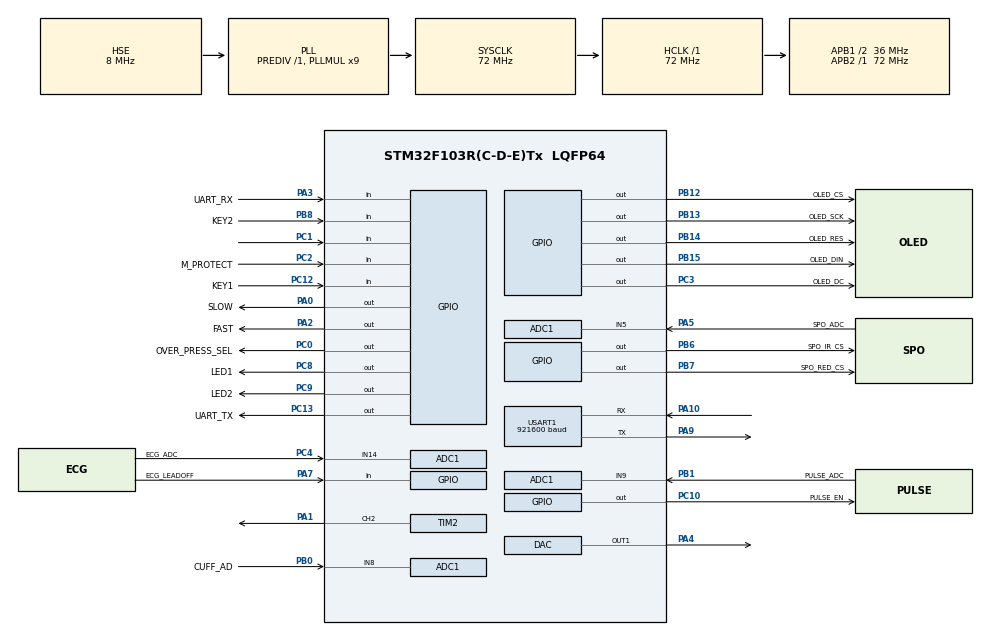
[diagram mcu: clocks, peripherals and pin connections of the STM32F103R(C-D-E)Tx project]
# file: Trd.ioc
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ADC1.Channel-1\#ChannelRegularConversion=ADC_CHANNEL_5
ADC1.Channel-2\#ChannelRegularConversion=ADC_CHANNEL_14
ADC1.Channel-3\#ChannelRegularConversion=ADC_CHANNEL_8
ADC1.Channel-4\#ChannelRegularConversion=ADC_CHANNEL_9
ADC1.ContinuousConvMode=ENABLE
ADC1.NbrOfConversion=4
ADC1.NbrOfConversionFlag=1
ADC1.Rank-1\#ChannelRegularConversion=1
ADC1.Rank-2\#ChannelRegularConversion=2
ADC1.Rank-3\#ChannelRegularConversion=3
ADC1.Rank-4\#ChannelRegularConversion=4
ADC1.SamplingTime-1\#ChannelRegularConversion=ADC_SAMPLETIME_71CYCLES_5
ADC1.SamplingTime-2\#ChannelRegularConversion=ADC_SAMPLETIME_71CYCLES_5
ADC1.SamplingTime-3\#ChannelRegularConversion=ADC_SAMPLETIME_71CYCLES_5
ADC1.SamplingTime-4\#ChannelRegularConversion=ADC_SAMPLETIME_71CYCLES_5
ADC1.master=1
DAC.DAC_OutputBuffer=DAC_OUTPUTBUFFER_DISABLE
Dma.ADC1.0.Direction=DMA_PERIPH_TO_MEMORY
Dma.ADC1.0.Instance=DMA1_Channel1
Dma.ADC1.0.MemDataAlignment=DMA_MDATAALIGN_HALFWORD
Dma.ADC1.0.MemInc=DMA_MINC_ENABLE
Dma.ADC1.0.Mode=DMA_CIRCULAR
Dma.ADC1.0.PeriphDataAlignment=DMA_PDATAALIGN_HALFWORD
Dma.ADC1.0.PeriphInc=DMA_PINC_DISABLE
Dma.ADC1.0.Priority=DMA_PRIORITY_LOW
Dma.Request0=ADC1
FREERTOS.BinarySemaphores01=xSemaphore500us,Dynamic,NULL,Available
FREERTOS.Queues01=xQueueECG,16,uint16_t,0,Dynamic,NULL,NULL;xQueueSPO2,16,SPO2_Data_t,0,Dynamic,NULL,NULL;xQueueNIBP,16,NIBP_Data_t,0,Dynamic,NULL,NULL
FREERTOS.Tasks01=defaultTask,24,128,StartDefaultTask,Default,NULL,Dynamic,NULL,NULL;ECG,8,512,vTaskECG,Default,NULL,Static,ECGBuffer,ECGControlBlock;SPO2,8,512,vTaskSPO2,Default,NULL,Static,SPO2Buffer,SPO2ControlBlock;NIBP,8,512,vTaskNIBP,Default,NULL,Static,NIBPBuffer,NIBPControlBlock;COLLECT,8,128,vTaskCollect,Default,NULL,Dynamic,NULL,NULL;LED,8,128,vTaskLED,Default,NULL,Dynamic,NULL,NULL;KEY,8,128,vKeyScanTask,Default,NULL,Dynamic,NULL,NULL
Mcu.Family=STM32F1
Mcu.Name=STM32F103R(C-D-E)Tx
Mcu.Package=LQFP64
NVIC.DMA1_Channel1_IRQn=true\:5\:0\:false\:false\:true\:true\:false\:true\:true
NVIC.PriorityGroup=NVIC_PRIORITYGROUP_4
NVIC.TIM3_IRQn=true\:5\:0\:false\:false\:true\:true\:true\:true\:true
NVIC.TIM4_IRQn=true\:15\:0\:false\:false\:true\:false\:false\:true\:true
NVIC.TimeBase=TIM4_IRQn
NVIC.TimeBaseIP=TIM4
PA0-WKUP.GPIO_Label=SLOW
PA0-WKUP.Signal=GPIO_Output
PA1.Signal=S_TIM2_CH2
PA10.Mode=Asynchronous
PA10.Signal=USART1_RX
PA13.Mode=JTAG_5_pins
PA13.Signal=SYS_JTMS-SWDIO
PA14.Mode=JTAG_5_pins
PA14.Signal=SYS_JTCK-SWCLK
PA15.Mode=JTAG_5_pins
PA15.Signal=SYS_JTDI
PA2.GPIO_Label=FAST
PA2.Signal=GPIO_Output
PA3.GPIO_Label=UART_RX
PA3.Signal=GPIO_Input
PA4.Signal=COMP_DAC1_group
PA5.GPIO_Label=SPO_ADC
PA5.Signal=ADCx_IN5
PA7.GPIO_Label=ECG_LEADOFF
PA7.Signal=GPIO_Input
PA9.Mode=Asynchronous
PA9.Signal=USART1_TX
PB0.GPIO_Label=CUFF_AD
PB0.Signal=ADCx_IN8
PB1.GPIO_Label=PULSE_ADC
PB1.Signal=ADCx_IN9
PB12.GPIO_Label=OLED_CS
PB12.Signal=GPIO_Output
PB13.GPIO_Label=OLED_SCK
PB13.Signal=GPIO_Output
PB14.GPIO_Label=OLED_RES
PB14.Signal=GPIO_Output
PB15.GPIO_Label=OLED_DIN
PB15.Signal=GPIO_Output
PB3.Mode=JTAG_5_pins
PB3.Signal=SYS_JTDO-TRACESWO
PB4.Mode=JTAG_5_pins
PB4.Signal=SYS_NJTRST
PB6.GPIO_Label=SPO_IR_CS
PB6.Signal=GPIO_Output
PB7.GPIO_Label=SPO_RED_CS
PB7.Signal=GPIO_Output
PB8.GPIO_Label=KEY2
PB8.Signal=GPIO_Input
PC0.GPIO_Label=OVER_PRESS_SEL
PC0.Signal=GPIO_Output
PC1.Signal=GPIO_Input
PC10.GPIO_Label=PULSE_EN
PC10.Signal=GPIO_Output
PC12.GPIO_Label=KEY1
PC12.Signal=GPIO_Input
PC13-TAMPER-RTC.GPIO_Label=UART_TX
PC13-TAMPER-RTC.Signal=GPIO_Output
PC14-OSC32_IN.Mode=LSE-External-Oscillator
PC14-OSC32_IN.Signal=RCC_OSC32_IN
PC15-OSC32_OUT.Mode=LSE-External-Oscillator
PC15-OSC32_OUT.Signal=RCC_OSC32_OUT
PC2.GPIO_Label=M_PROTECT
PC2.Signal=GPIO_Input
PC3.GPIO_Label=OLED_DC
PC3.Signal=GPIO_Output
PC4.GPIO_Label=ECG_ADC
PC4.Signal=ADCx_IN14
PC8.GPIO_Label=LED1
PC8.Signal=GPIO_Output
PC9.GPIO_Label=LED2
PC9.Signal=GPIO_Output
PD0-OSC_IN.Mode=HSE-External-Oscillator
PD0-OSC_IN.Signal=RCC_OSC_IN
PD1-OSC_OUT.Mode=HSE-External-Oscillator
PD1-OSC_OUT.Signal=RCC_OSC_OUT
ProjectManager.HeapSize=0x200
ProjectManager.StackSize=0x400
ProjectManager.TargetToolchain=CMake
RCC.ADCPresc=RCC_ADCPCLK2_DIV6
RCC.AHBFreq_Value=72000000
RCC.APB1CLKDivider=RCC_HCLK_DIV2
RCC.APB1Freq_Value=36000000
RCC.APB1TimFreq_Value=72000000
RCC.APB2Freq_Value=72000000
RCC.APB2TimFreq_Value=72000000
RCC.HCLKFreq_Value=72000000
RCC.PLLMUL=RCC_PLL_MUL9
RCC.PLLSourceVirtual=RCC_PLLSOURCE_HSE
RCC.SYSCLKFreq_VALUE=72000000
RCC.SYSCLKSource=RCC_SYSCLKSOURCE_PLLCLK
RCC.USBFreq_Value=72000000
SH.ADCx_IN14.0=ADC1_IN14,IN14
SH.ADCx_IN5.0=ADC1_IN5,IN5
SH.ADCx_IN8.0=ADC1_IN8,IN8
SH.ADCx_IN9.0=ADC1_IN9,IN9
SH.COMP_DAC1_group.0=DAC_OUT1,DAC_OUT1
SH.S_TIM2_CH2.0=TIM2_CH2,PWM Generation2 CH2
TIM2.Channel-PWM\ Generation2\ CH2=TIM_CHANNEL_2
TIM2.Period=100-1
TIM2.Prescaler=72-1
TIM3.Period=500-1
TIM3.Prescaler=72-1
USART1.BaudRate=921600
USART1.VirtualMode=VM_ASYNC
VP_FREERTOS_VS_CMSIS_V2.Mode=CMSIS_V2
VP_SYS_VS_tim4.Mode=TIM4
VP_TIM2_VS_ClockSourceINT.Mode=Internal
VP_TIM3_VS_ClockSourceINT.Mode=Internal
board=custom

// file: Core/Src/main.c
/* USER CODE BEGIN Header */
/**
  ******************************************************************************
  * @file           : main.c
  * @brief          : Main program body
  ******************************************************************************
  * @attention
  *
  * Copyright (c) 2026 STMicroelectronics.
  * All rights reserved.
  *
  * This software is licensed under terms that can be found in the LICENSE file
  * in the root directory of this software component.
  * If no LICENSE file comes with this software, it is provided AS-IS.
  *
  ******************************************************************************
  */
/* USER CODE END Header */
#include "main.h"
#include "cmsis_os.h"
#include "adc.h"
#include "dac.h"
#include "dma.h"
#include "tim.h"
#include "usart.h"
#include "gpio.h"

/* USER CODE BEGIN Includes */
#include <stdio.h>
#include <string.h>
/* USER CODE END Includes */

/* USER CODE BEGIN PM */
SPO2Filter spo2_filter;
/* USER CODE END PM */

/* USER CODE BEGIN PV */

//char message[50] = "";
/* USER CODE END PV */

void SystemClock_Config(void);
void MX_FREERTOS_Init(void);

/* USER CODE BEGIN 0 */
//
// void Set_DAC_Voltage(float voltage) {
//   uint16_t dac_value;
//   // 计算DAC值 (12位分辨率)
//   dac_value = (uint16_t)((voltage / 3.3) * 4095);
//
//   // 设置DAC数据 (12位右对齐)
//   HAL_DAC_SetValue(&hdac,DAC_CHANNEL_1,DAC_ALIGN_12B_R,dac_value);
// }
/* USER CODE END 0 */

int main(void)
{

  /* MCU Configuration--------------------------------------------------------*/

  /* Reset of all peripherals, Initializes the Flash interface and the Systick. */
  HAL_Init();

  /* Configure the system clock */
  SystemClock_Config();

  /* Initialize all configured peripherals */
  MX_GPIO_Init();
  MX_DMA_Init();
  MX_ADC1_Init();
  MX_USART1_UART_Init();
  MX_DAC_Init();
  MX_TIM2_Init();
  MX_TIM3_Init();
  /* USER CODE BEGIN 2 */
  //HAL_TIM_Base_Start_IT(&htim3);//500um
  //HAL_ADCEx_Calibration_Start(&hadc1);
  // HAL_ADC_Start_DMA(&hadc1,(uint32_t*)adc_buff,sizeof(adc_buff)/sizeof(uint16_t));
  //HAL_DAC_Start(&hdac,DAC_CHANNEL_1);
  //HAL_TIM_PWM_Start(&htim2,TIM_CHANNEL_2);
  InitFilters(&spo2_filter);  // 初始化滤波器
  HAL_GPIO_WritePin(FAST_GPIO_Port,FAST_Pin,GPIO_PIN_SET);
  HAL_GPIO_WritePin(SLOW_GPIO_Port,SLOW_Pin,GPIO_PIN_SET);
  Set_DAC_Voltage(0.80);
  //printf("initialised\r\n");
  /* USER CODE END 2 */

  /* Init scheduler */
  osKernelInitialize();  /* Call init function for freertos objects (in cmsis_os2.c) */
  MX_FREERTOS_Init();

  /* Start scheduler */
  osKernelStart();

  /* We should never get here as control is now taken by the scheduler */

  /* Infinite loop */
  /* USER CODE BEGIN WHILE */
  while (1)
  {
    // for (int i=0;i<100;i++)
    // {
    //   __HAL_TIM_SET_COMPARE(&htim2,TIM_CHANNEL_2,i);
    //   HAL_Delay(400);
    // }
    // for (int i=100;i>=0;i--)
    // {
    //   __HAL_TIM_SET_COMPARE(&htim2,TIM_CHANNEL_2,i);
    //   HAL_Delay(400);
    // }

    /* USER CODE END WHILE */

  }
}

void SystemClock_Config(void)
{
  RCC_OscInitTypeDef RCC_OscInitStruct = {0};
  RCC_ClkInitTypeDef RCC_ClkInitStruct = {0};
  RCC_PeriphCLKInitTypeDef PeriphClkInit = {0};

  /** Initializes the RCC Oscillators according to the specified parameters
  * in the RCC_OscInitTypeDef structure.
  */
  RCC_OscInitStruct.OscillatorType = RCC_OSCILLATORTYPE_HSE;
  RCC_OscInitStruct.HSEState = RCC_HSE_ON;
  RCC_OscInitStruct.HSEPredivValue = RCC_HSE_PREDIV_DIV1;
  RCC_OscInitStruct.HSIState = RCC_HSI_ON;
  RCC_OscInitStruct.PLL.PLLState = RCC_PLL_ON;
  RCC_OscInitStruct.PLL.PLLSource = RCC_PLLSOURCE_HSE;
  RCC_OscInitStruct.PLL.PLLMUL = RCC_PLL_MUL9;
  if (HAL_RCC_OscConfig(&RCC_OscInitStruct) != HAL_OK)
  {
    Error_Handler();
  }

  /** Initializes the CPU, AHB and APB buses clocks
  */
  RCC_ClkInitStruct.ClockType = RCC_CLOCKTYPE_HCLK|RCC_CLOCKTYPE_SYSCLK
                              |RCC_CLOCKTYPE_PCLK1|RCC_CLOCKTYPE_PCLK2;
  RCC_ClkInitStruct.SYSCLKSource = RCC_SYSCLKSOURCE_PLLCLK;
  RCC_ClkInitStruct.AHBCLKDivider = RCC_SYSCLK_DIV1;
  RCC_ClkInitStruct.APB1CLKDivider = RCC_HCLK_DIV2;
  RCC_ClkInitStruct.APB2CLKDivider = RCC_HCLK_DIV1;

  if (HAL_RCC_ClockConfig(&RCC_ClkInitStruct, FLASH_LATENCY_2) != HAL_OK)
  {
    Error_Handler();
  }
  PeriphClkInit.PeriphClockSelection = RCC_PERIPHCLK_ADC;
  PeriphClkInit.AdcClockSelection = RCC_ADCPCLK2_DIV6;
  if (HAL_RCCEx_PeriphCLKConfig(&PeriphClkInit) != HAL_OK)
  {
    Error_Handler();
  }
}

void HAL_TIM_PeriodElapsedCallback(TIM_HandleTypeDef *htim)
{
  if (htim->Instance == TIM4)
  {
    HAL_IncTick();
  }
  /* USER CODE BEGIN Callback 1 */
  if (htim->Instance == TIM3)
  {
    osSemaphoreRelease(xSemaphore500usHandle);   // 在中断中释放信号量
  }
  /* USER CODE END Callback 1 */
}

void Error_Handler(void)
{
  __disable_irq();
  while (1)
  {
  }
}

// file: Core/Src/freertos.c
/* USER CODE BEGIN Header */
/**
  ******************************************************************************
  * File Name          : freertos.c
  * Description        : Code for freertos applications
  ******************************************************************************
  * @attention
  *
  * Copyright (c) 2026 STMicroelectronics.
  * All rights reserved.
  *
  * This software is licensed under terms that can be found in the LICENSE file
  * in the root directory of this software component.
  * If no LICENSE file comes with this software, it is provided AS-IS.
  *
  ******************************************************************************
  */
/* USER CODE END Header */

#include "FreeRTOS.h"
#include "task.h"
#include "main.h"
#include "cmsis_os.h"
#include "adc.h"
#include <stdio.h>
#include <string.h>

#include "dac.h"
#include "usart.h"

typedef StaticTask_t osStaticThreadDef_t;
/* USER CODE BEGIN PTD */
#define SPO2_BUF_SIZE 1024
#define RR_TABLE_SIZE 11
static const uint16_t RR_TABLE[RR_TABLE_SIZE] = {560, 600, 630, 650, 680, 710, 740, 760, 790, 820, 860};
/* USER CODE END PTD */

/* USER CODE BEGIN PD */
// 血氧计算相关结构体
typedef struct {
  uint16_t redBuffer[SPO2_BUF_SIZE];  // 红光数据缓冲区
  uint16_t irBuffer[SPO2_BUF_SIZE];   // 红外光数据缓冲区
  uint16_t index;                     // 缓冲区索引
  uint8_t calcFlag;                   // 计算标志位
  uint16_t arrRRBuff[6];              // R值缓冲区
  uint8_t spo2Value;                  // 计算得到的血氧值
} SPO2Calculator;
/* USER CODE END PD */

/* USER CODE BEGIN PM */
void StoreSPO2Data(SPO2Calculator* calculator, uint16_t redValue, uint16_t irValue);
uint8_t CalcSpO2(SPO2Calculator* calculator);
void AdjustLight(uint16_t redValue, uint16_t irValue);
void InitSPO2Calculator(SPO2Calculator* calculator);
uint16_t ECG_ADC =0;
uint16_t SPO_RED_ADC =0;
uint16_t SPO_IR_ADC =0;
uint16_t CUFF_ADC =0;
uint16_t PULSE_ADC =0;
extern SPO2Filter spo2_filter;
SPO2Calculator spo2_calculator;   // 血氧计算器（也可作为任务局部静态，但为了方便可以在任务外初始化）
// 添加DAC电压全局变量
float g_redDACVoltage = 0.21f;   // 红光DAC初始电压
float g_irDACVoltage = 0.13f;    // 红外光DAC初始电压
/* 探头脱落和调光完成标志（参考裸机） */
uint8_t g_probeDetached = 1;       // 初始为脱落
uint8_t g_lightAdjustComplete = 0; // 调光未完成
char message[50]= "";
char stamsg2[50]="";
char stamsg3[50]="";
char stamsg4[50]="";
/* USER CODE END PM */

/* Definitions for defaultTask */
osThreadId_t defaultTaskHandle;
const osThreadAttr_t defaultTask_attributes = {
  .name = "defaultTask",
  .stack_size = 128 * 4,
  .priority = (osPriority_t) osPriorityNormal,
};
/* Definitions for ECG */
osThreadId_t ECGHandle;
uint32_t ECGBuffer[ 512 ];
osStaticThreadDef_t ECGControlBlock;
const osThreadAttr_t ECG_attributes = {
  .name = "ECG",
  .cb_mem = &ECGControlBlock,
  .cb_size = sizeof(ECGControlBlock),
  .stack_mem = &ECGBuffer[0],
  .stack_size = sizeof(ECGBuffer),
  .priority = (osPriority_t) osPriorityLow,
};
/* Definitions for SPO2 */
osThreadId_t SPO2Handle;
uint32_t SPO2Buffer[ 512 ];
osStaticThreadDef_t SPO2ControlBlock;
const osThreadAttr_t SPO2_attributes = {
  .name = "SPO2",
  .cb_mem = &SPO2ControlBlock,
  .cb_size = sizeof(SPO2ControlBlock),
  .stack_mem = &SPO2Buffer[0],
  .stack_size = sizeof(SPO2Buffer),
  .priority = (osPriority_t) osPriorityLow,
};
/* Definitions for NIBP */
osThreadId_t NIBPHandle;
uint32_t NIBPBuffer[ 512 ];
osStaticThreadDef_t NIBPControlBlock;
const osThreadAttr_t NIBP_attributes = {
  .name = "NIBP",
  .cb_mem = &NIBPControlBlock,
  .cb_size = sizeof(NIBPControlBlock),
  .stack_mem = &NIBPBuffer[0],
  .stack_size = sizeof(NIBPBuffer),
  .priority = (osPriority_t) osPriorityLow,
};
/* Definitions for COLLECT */
osThreadId_t COLLECTHandle;
const osThreadAttr_t COLLECT_attributes = {
  .name = "COLLECT",
  .stack_size = 128 * 4,
  .priority = (osPriority_t) osPriorityLow,
};
/* Definitions for LED */
osThreadId_t LEDHandle;
const osThreadAttr_t LED_attributes = {
  .name = "LED",
  .stack_size = 128 * 4,
  .priority = (osPriority_t) osPriorityLow,
};
/* Definitions for KEY */
osThreadId_t KEYHandle;
const osThreadAttr_t KEY_attributes = {
  .name = "KEY",
  .stack_size = 128 * 4,
  .priority = (osPriority_t) osPriorityLow,
};
/* Definitions for xQueueECG */
osMessageQueueId_t xQueueECGHandle;
const osMessageQueueAttr_t xQueueECG_attributes = {
  .name = "xQueueECG"
};
/* Definitions for xQueueSPO2 */
osMessageQueueId_t xQueueSPO2Handle;
const osMessageQueueAttr_t xQueueSPO2_attributes = {
  .name = "xQueueSPO2"
};
/* Definitions for xQueueNIBP */
osMessageQueueId_t xQueueNIBPHandle;
const osMessageQueueAttr_t xQueueNIBP_attributes = {
  .name = "xQueueNIBP"
};
/* Definitions for xSemaphore500us */
osSemaphoreId_t xSemaphore500usHandle;
const osSemaphoreAttr_t xSemaphore500us_attributes = {
  .name = "xSemaphore500us"
};

void StartDefaultTask(void *argument);
void vTaskECG(void *argument);
void vTaskSPO2(void *argument);
void vTaskNIBP(void *argument);
void vTaskCollect(void *argument);
void vTaskLED(void *argument);
void vKeyScanTask(void *argument);

void MX_FREERTOS_Init(void); /* (MISRA C 2004 rule 8.1) */

void MX_FREERTOS_Init(void) {

  /* Create the semaphores(s) */
  /* creation of xSemaphore500us */
  xSemaphore500usHandle = osSemaphoreNew(1, 1, &xSemaphore500us_attributes);

  /* Create the queue(s) */
  /* creation of xQueueECG */
  xQueueECGHandle = osMessageQueueNew (16, sizeof(uint16_t), &xQueueECG_attributes);

  /* creation of xQueueSPO2 */
  xQueueSPO2Handle = osMessageQueueNew (16, sizeof(SPO2_Data_t), &xQueueSPO2_attributes);

  /* creation of xQueueNIBP */
  xQueueNIBPHandle = osMessageQueueNew (16, sizeof(NIBP_Data_t), &xQueueNIBP_attributes);

  /* Create the thread(s) */
  /* creation of defaultTask */
  defaultTaskHandle = osThreadNew(StartDefaultTask, NULL, &defaultTask_attributes);

  /* creation of ECG */
  ECGHandle = osThreadNew(vTaskECG, NULL, &ECG_attributes);

  /* creation of SPO2 */
  SPO2Handle = osThreadNew(vTaskSPO2, NULL, &SPO2_attributes);

  /* creation of NIBP */
  NIBPHandle = osThreadNew(vTaskNIBP, NULL, &NIBP_attributes);

  /* creation of COLLECT */
  COLLECTHandle = osThreadNew(vTaskCollect, NULL, &COLLECT_attributes);

  /* creation of LED */
  LEDHandle = osThreadNew(vTaskLED, NULL, &LED_attributes);

  /* creation of KEY */
  KEYHandle = osThreadNew(vKeyScanTask, NULL, &KEY_attributes);

  /* USER CODE BEGIN RTOS_EVENTS */
  /* add events, ... */
  InitSPO2Calculator(&spo2_calculator);  // 初始化血氧计算器
  /* USER CODE END RTOS_EVENTS */

}

void StartDefaultTask(void *argument)
{
  for(;;)
  {
    osDelay(1);
  }
}

void vTaskECG(void *argument)
{
  /* USER CODE BEGIN vTaskECG */
  static uint16_t ecgad;
  /* Infinite loop */
  for(;;)
  {
    osMessageQueueGet(xQueueECGHandle,&ecgad,0,osWaitForever);
    ECG_ADC = ecgad;
    // sprintf(message,"%d\r\n",ECG_ADC);
    // HAL_UART_Transmit(&huart1,(uint8_t*) message, strlen(message), 1000);
  }
  /* USER CODE END vTaskECG */
}

void vTaskSPO2(void *argument)
{
  /* USER CODE BEGIN vTaskSPO2 */
  static SPO2_Data_t spoad;
  uint8_t spo2_value;
  /* Infinite loop */
  for(;;)
  {
    osMessageQueueGet(xQueueSPO2Handle,&spoad,0,osWaitForever);
    StoreSPO2Data(&spo2_calculator, spoad.red, spoad.ir);
    // SPO_RED_ADC = spoad.red;
    // SPO_IR_ADC  = spoad.ir;
    // sprintf(message,"%d,%d\r\n",SPO_RED_ADC,SPO_IR_ADC);
    // HAL_UART_Transmit(&huart1,(uint8_t*) message, strlen(message), 1000);
    /* 检查是否已累积到足够的数据（缓冲区满） */
    if (spo2_calculator.calcFlag == 1)
    {
      /* 计算血氧值（CalcSpO2 内部会检查探头脱落和调光完成标志） */
      spo2_value = CalcSpO2(&spo2_calculator);

      /* 通过串口打印结果（可改为发送到显示队列） */
      sprintf(stamsg4,"[[4,SPO:%d]]\r\n",spo2_value);
      HAL_UART_Transmit(&huart1,(uint8_t*) stamsg4, strlen(stamsg4), 1000);

      /* 注意：CalcSpO2 内部会重置 calcFlag 和 index，无需额外操作 */
    }
  }
  /* USER CODE END vTaskSPO2 */
}

void vTaskNIBP(void *argument)
{
  /* USER CODE BEGIN vTaskNIBP */
  /* Infinite loop */
  static NIBP_Data_t adc;
  for(;;)
  {
    osMessageQueueGet(xQueueNIBPHandle,&adc,0,osWaitForever);
    CUFF_ADC = adc.cuff;
    PULSE_ADC = adc.pulse;
    //osDelay(1);
  }
  /* USER CODE END vTaskNIBP */
}

void vTaskCollect(void *argument)
{
  /* USER CODE BEGIN vTaskCollect */
  /* 静态变量用于时序控制 */
  static uint8_t state = 0;          // LED 状态: 0关,1红,2关,3红外,4关
  static uint8_t state_counter = 0;  // 500us 计数器
  static uint8_t s_iCnt3 = 0;        // 采样延时计数器
  static uint8_t s_redSampled = 0, s_irSampled = 0;
  static uint16_t s_redValue = 0, s_irValue = 0;
  static uint16_t red_filtered = 0, ir_filtered = 0;
  /* 2ms 计数器 */
  static uint8_t two_ms_divider = 0;
  /* 临时变量 */
  SPO2_Data_t spo2_data;
  NIBP_Data_t nibp_data;
  uint16_t adc_value;
  /* Infinite loop */
  for(;;)
  {
    osSemaphoreAcquire(xSemaphore500usHandle, osWaitForever);
    /* ---------- 1. 血氧 LED 状态机 ---------- */
    state_counter++;
    if (state_counter >= 4) {//2ms变一次
      state_counter = 0;
      state = (state + 1) % 5;  // 0->1->2->3->4->0
    }
    switch (state) {
    case 0: case 2: case 4://全灭
      HAL_GPIO_WritePin(SPO_RED_CS_GPIO_Port, SPO_RED_CS_Pin, GPIO_PIN_SET);
      HAL_GPIO_WritePin(SPO_IR_CS_GPIO_Port,  SPO_IR_CS_Pin,  GPIO_PIN_SET);
      break;
    case 1://红光亮
      HAL_GPIO_WritePin(SPO_RED_CS_GPIO_Port, SPO_RED_CS_Pin, GPIO_PIN_RESET);
      HAL_GPIO_WritePin(SPO_IR_CS_GPIO_Port,  SPO_IR_CS_Pin,  GPIO_PIN_SET);
      Set_DAC_Voltage(g_redDACVoltage);
      break;
    case 3://红外灯亮
      HAL_GPIO_WritePin(SPO_RED_CS_GPIO_Port, SPO_RED_CS_Pin, GPIO_PIN_SET);
      HAL_GPIO_WritePin(SPO_IR_CS_GPIO_Port,  SPO_IR_CS_Pin,  GPIO_PIN_RESET);
      Set_DAC_Voltage(g_irDACVoltage);
      break;
    }
    /* ---------- 2. 血氧采样时刻判断 ---------- */
    if ((state == 1 || state == 3) && s_iCnt3 < 3) {
      s_iCnt3++;
      if (s_iCnt3 == 3) {
        /* 从 DMA 缓冲区读取血氧通道值（假设索引 0） */
        adc_value = ReadADCChannel(SPO_CHANNEL);
        if (state == 1) {
          s_redValue = adc_value;
          s_redSampled = 1;
        } else {
          s_irValue = adc_value;
          s_irSampled = 1;
        }
      }
    } else if (state == 0 || state == 2 || state == 4) {
      s_iCnt3 = 0;
    }
    /* 如果红光和红外都采样完成，打包发送给 SPO2 任务 */
    /* 如果红光和红外都采样完成，先进行探头检测和调光，再决定是否发送滤波后的数据 */
    if (s_redSampled && s_irSampled) {
      // 检测探头脱落（以原始ADC值为准）
      // sprintf(message,"%d,%d\r\n",s_redValue,s_irValue);
      // HAL_UART_Transmit(&huart1,(uint8_t*) message, strlen(message), 1000);
      if (s_redValue < 20 || s_irValue < 20) {
        g_probeDetached = 1;
        g_lightAdjustComplete = 0;
        // 重置血氧计算器（清空缓冲区）
        spo2_calculator.index = 0;
        spo2_calculator.calcFlag = 0;
        //printf("[[2,探头脱落]]\r\n"); //脱落
        sprintf(stamsg2,"[[2,探头脱落]]\r\n");
        HAL_UART_Transmit(&huart1,(uint8_t*) stamsg2, strlen(stamsg2), 1000);
      } else
      {
        // 探头已连接
        if (g_probeDetached) {
          g_probeDetached = 0;
          //printf("[[2,连接]]\r\n"); //脱落
          sprintf(stamsg2,"[[2,探头连接]]\r\n");
          HAL_UART_Transmit(&huart1,(uint8_t*) stamsg2, strlen(stamsg2), 1000);
        }
        // 调光逻辑
        AdjustLight(s_redValue, s_irValue);

        // 检查调光是否完成
        if (s_redValue >= 825 && s_redValue <= 975 &&
            s_irValue >= 825 && s_irValue <= 975) {
          if (!g_lightAdjustComplete) {
            g_lightAdjustComplete = 1;
            //printf("[[3,调光完成]]\r\n"); //脱落
            sprintf(stamsg3,"[[3,调光完成]]\r\n");
            HAL_UART_Transmit(&huart1,(uint8_t*) stamsg3, strlen(stamsg3), 1000);
          }

          // 发送滤波后的数据给血氧任务
          red_filtered = FilterSPO2Red(&spo2_filter, s_redValue);
          ir_filtered = FilterSPO2IR(&spo2_filter, s_irValue);
          spo2_data.red = red_filtered;
          spo2_data.ir  = ir_filtered;
          // sprintf(message,"%d,%d\r\n",red_filtered,ir_filtered);
          // HAL_UART_Transmit(&huart1,(uint8_t*) message, strlen(message), 1000);
          osMessageQueuePut(xQueueSPO2Handle, &spo2_data, 0, 0);
            }else {
            g_lightAdjustComplete = 0;
              //printf("[[3,调光未完成]]\r\n"); //脱落
            sprintf(stamsg3,"[[3,调光未完成]]\r\n");
            HAL_UART_Transmit(&huart1,(uint8_t*) stamsg3, strlen(stamsg3), 1000);
          }
      }
      s_redSampled = 0;
      s_irSampled = 0;
    }
    /* ---------- 3. 每 2ms 采集 ECG 和 NIBP ---------- */
    two_ms_divider++;
    if (two_ms_divider >= 4) {
      two_ms_divider = 0;

      /* 读取 ECG 通道 */
      adc_value = ReadADCChannel(ECG_CHANNEL);
      osMessageQueuePut(xQueueECGHandle, &adc_value, 0, 0);

      /* 读取 NIBP 通道 */
      nibp_data.cuff  = ReadADCChannel(CUFF_CHANNEL);
      nibp_data.pulse = ReadADCChannel(PULSE_CHANNEL);
      sprintf(message,"%d,%d\r\n",nibp_data.cuff,nibp_data.pulse);
      HAL_UART_Transmit(&huart1,(uint8_t*) message, strlen(message), 1000);
      osMessageQueuePut(xQueueNIBPHandle, &nibp_data, 0, 0);
    }
  }

  /* USER CODE END vTaskCollect */
}

void vTaskLED(void *argument)
{
  /* USER CODE BEGIN vTaskLED */
  /* Infinite loop */
  for(;;)
  {
    HAL_GPIO_WritePin(GPIOC, LED1_Pin,1);
    HAL_GPIO_WritePin(GPIOC, LED2_Pin, 0);
    osDelay(250);
    HAL_GPIO_WritePin(GPIOC, LED1_Pin,0);
    HAL_GPIO_WritePin(GPIOC, LED2_Pin, 1);
    osDelay(250);
    // sprintf(message,"%d\r\n",ECG_ADC);
    // HAL_UART_Transmit(&huart1,(uint8_t*) message, strlen(message), 1000);
  }
  /* USER CODE END vTaskLED */
}

void vKeyScanTask(void *argument)
{
  for(;;)
  {
    osDelay(1);
  }
}

/* USER CODE BEGIN Application */
// 存储血氧数据
void StoreSPO2Data(SPO2Calculator* calculator, uint16_t redValue, uint16_t irValue)
{
  if(calculator->index < SPO2_BUF_SIZE)
  {
    calculator->redBuffer[calculator->index] = redValue;
    calculator->irBuffer[calculator->index] = irValue;
    calculator->index++;
  }
  // 缓冲区满时设置计算标志
  if(calculator->index >= SPO2_BUF_SIZE)
  {
    calculator->calcFlag = 1;
  }
}

// 血氧计算函数
uint8_t CalcSpO2(SPO2Calculator* calculator)
{
    uint8_t spo2 = 0;
    uint16_t IRMax = 0, RedMax = 0;
    uint16_t IRMin = 0xFFFF, RedMin = 0xFFFF;
    uint16_t i, j, temp;
    uint16_t irADRng, redADRng, rrVal;
    uint16_t arr_sort[6] = {0};
    uint32_t IRAvg, RedAvg;

		if(!g_lightAdjustComplete || g_probeDetached)
        return calculator->spo2Value;

    if(calculator->calcFlag == 1)
    {

        // 找最大值和最小值
        for(i = 0; i < SPO2_BUF_SIZE; i++)
        {
            if(calculator->irBuffer[i] > IRMax) IRMax = calculator->irBuffer[i];
            if(calculator->irBuffer[i] < IRMin) IRMin = calculator->irBuffer[i];
            if(calculator->redBuffer[i] > RedMax) RedMax = calculator->redBuffer[i];
            if(calculator->redBuffer[i] < RedMin) RedMin = calculator->redBuffer[i];
        }

        irADRng = IRMax - IRMin;      // 红外光交流分量
        redADRng = RedMax - RedMin;   // 红光交流分量

        IRAvg = (IRMax + IRMin) / 2;     // 红外光直流分量
        RedAvg = (RedMax + RedMin) / 2;  // 红光直流分量

        if(irADRng == 0 || RedAvg == 0 || IRAvg == 0)
        {
            calculator->arrRRBuff[5] = 0;
				    calculator->calcFlag = 0;
            calculator->index = 0;
            return 0;
        }

        // 缓冲R值
        for(i = 0; i < 5; i++)
        {
            calculator->arrRRBuff[i] = calculator->arrRRBuff[i+1];
            arr_sort[i] = calculator->arrRRBuff[i];
        }

        // 计算R值
        calculator->arrRRBuff[5] = (redADRng * 1000) / irADRng;
        arr_sort[5] = calculator->arrRRBuff[5];
        //printf("[[2,%d]]\r\n", calculator->arrRRBuff[5]); //设置测量结果显示
        // 对R值进行排序（冒泡排序）
        for(i = 0; i < 5; i++)
        {
            for(j = 0; j < 5-i; j++)
            {
                if(arr_sort[j] > arr_sort[j+1])
                {
                    temp = arr_sort[j];
                    arr_sort[j] = arr_sort[j+1];
                    arr_sort[j+1] = temp;
                }
            }
        }

        // 取中值作为最终R值
        rrVal = (arr_sort[2] + arr_sort[3]) / 2;

        //printf("[[1,%d]]\r\n", rrVal); //设置测量结果显示

				//printf("[[3,%d]]\r\n", redADRng); //设置测量结果显示
				//printf("[[4,%d]]\r\n", irADRng); //设置测量结果显示

        // 查表计算血氧值
        for(i = 0; i < RR_TABLE_SIZE; i++)
        {
            if(rrVal <= RR_TABLE[i])
            {
                break;
            }
        }

        spo2 = 101 - i;  // 计算血氧饱和度

				if(spo2 == 100)
        {
            spo2 = 99;
        }

				if(spo2 == 101)
        {
            spo2 = 99;
        }

        calculator->calcFlag = 0;
				calculator->index = 0;  // 重置索引，开始新一轮数据收集
        calculator->spo2Value = spo2;

        //printf("血氧计算完成: %d%%\r\n", spo2);
				//printf("[[1,计算完成]]\r\n"); //设置测量结果显示
        return spo2;
    }
    return calculator->spo2Value;  // 返回上一次计算的值
}

void AdjustLight(uint16_t redValue, uint16_t irValue)
{
  // 只有探头连接且调光未完成时才调光
  if(g_probeDetached || g_lightAdjustComplete)
    return;

  // 红光调光逻辑
  if(redValue > 975) // 光强太弱，需要增加电压
  {
    g_redDACVoltage += 0.01f;
  }
  else if(redValue < 825) // 光强太强，需要减小电压
  {
    g_redDACVoltage -= 0.01f;
  }

  // 红外光调光逻辑
  if(irValue > 975) // 光强太弱，需要增加电压
  {
    g_irDACVoltage += 0.01f;
  }
  else if(irValue < 825) // 光强太强，需要减小电压
  {
    g_irDACVoltage -= 0.01f;
  }

  // 限制电压范围
  if(g_redDACVoltage < 0.01f) g_redDACVoltage = 0.01f;
  if(g_redDACVoltage > 3.3f) g_redDACVoltage = 3.3f;
  if(g_irDACVoltage < 0.01f) g_irDACVoltage = 0.01f;
  if(g_irDACVoltage > 3.3f) g_irDACVoltage = 3.3f;
}

// 初始化血氧计算器
void InitSPO2Calculator(SPO2Calculator* calculator)
{
  int i;

  calculator->index = 0;
  calculator->calcFlag = 0;
  calculator->spo2Value = 0;

  // 初始化R值缓冲区
  for(i = 0; i < 6; i++)
  {
    calculator->arrRRBuff[i] = 560; // 初始值
  }
}
/* USER CODE END Application */
